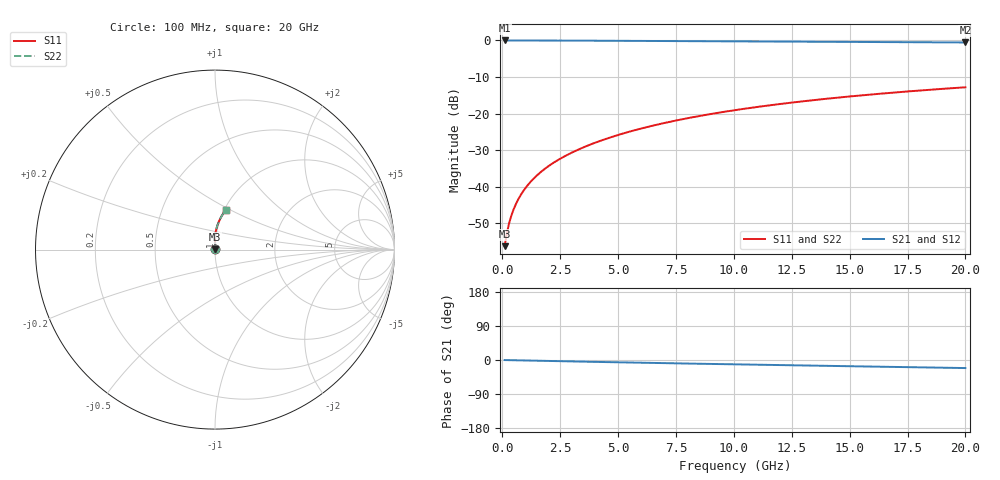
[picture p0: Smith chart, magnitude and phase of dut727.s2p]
! Touchstone file exported from HFSS 2024.1.0
!  File:  C:/UserFiles/LocalFiles/RDL_TSV_Batchsim/temp_RDL_bottom_727_1779858746.aedt
!  Generated:  01:15:14 PM May 27, 2026
!  Design:  RDL_bottom
!  Project:  temp_RDL_bottom_727_1779858746
!  Setup:  Setup1
!  Solution:  Sweep
! Variables:
!  dtsv = 10.80580581um
!  hbump = 3um
!  htsv = 57.69um
!  ldown = 262.31um
!  lrdl = 100um
!  p = 40
!  p1 = 59.17um
!  rhole = 1um
!  t = 450um
!  tdown = 3.85um
!  trdl = 3.915915916um
!  wdown = 26.44um
!  wrdl = 20um
# GHz S MA R 50.000000
! Terminal data exported
! Port[1] = RDL1_T1
! Port[2] = RDL1_T2
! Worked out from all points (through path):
!   200 points, 100 MHz to 20 GHz, reference 50 ohm
!   highest |S21| = -0.01 dB at 100 MHz (marker M1); lowest = -0.6 dB at 20 GHz (marker M2)
!   group delay of S21, straight-line fit = 2.91 ps
!   lowest |S11| = -56.3 dB at 100 MHz (marker M3), VSWR 1.00, Z = 50.1 + j0.103 ohm
!   |S11| at or under -10 dB: start of sweep to end of sweep
!   |S22| runs from -56.3 to -12.8 dB; largest |S21 - S12| = 5.2e-15
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0.1  0.00153 42.3  0.9989 -0.1  0.9989 -0.1  0.00153 42.3
! Gamma 0 0 0 0
! Port Impedance 50 0 50 0
0.2  0.002338 59.3  0.9988 -0.3  0.9988 -0.3  0.002338 59.3
0.3  0.003206 67.2  0.9987 -0.4  0.9987 -0.4  0.003206 67.2
0.4  0.004086 71.9  0.9986 -0.5  0.9986 -0.5  0.004086 71.9
0.5  0.004976 75.1  0.9985 -0.6  0.9985 -0.6  0.004976 75.1
0.6  0.005875 77.4  0.9984 -0.8  0.9984 -0.8  0.005875 77.4
0.8  0.007698 80.6  0.9983 -1.0  0.9983 -1.0  0.007698 80.6
1.1  0.01048 83.6  0.9979 -1.4  0.9979 -1.4  0.01048 83.6
1.5  0.01426 86.0  0.9974 -1.9  0.9974 -1.9  0.01426 86.0
1.8  0.01714 87.1  0.9969 -2.3  0.9969 -2.3  0.01714 87.1
2.1  0.02007 88.0  0.9963 -2.7  0.9963 -2.7  0.02007 88.0
2.7  0.02607 89.3  0.9949 -3.4  0.9949 -3.4  0.02607 89.3
3.5  0.03436 90.2  0.9927 -4.4  0.9927 -4.4  0.03436 90.2
4.2  0.0419 90.6  0.9906 -5.2  0.9906 -5.2  0.0419 90.6
5  0.05081 90.7  0.9879 -6.1  0.9879 -6.1  0.05081 90.7
5.9  0.06115 90.4  0.9848 -7.1  0.9848 -7.1  0.06115 90.4
6.8  0.07176 89.9  0.9817 -8.1  0.9817 -8.1  0.07176 89.9
8.4  0.09104 88.5  0.9762 -9.8  0.9762 -9.8  0.09104 88.5
10.1  0.1118 86.6  0.9704 -11.5  0.9704 -11.5  0.1118 86.6
13.4  0.1519 82.7  0.9596 -14.8  0.9596 -14.8  0.1519 82.7
16.7  0.191 78.7  0.9489 -18.1  0.9489 -18.1  0.191 78.7
20  0.2285 74.9  0.9377 -21.3  0.9377 -21.3  0.2285 74.9
